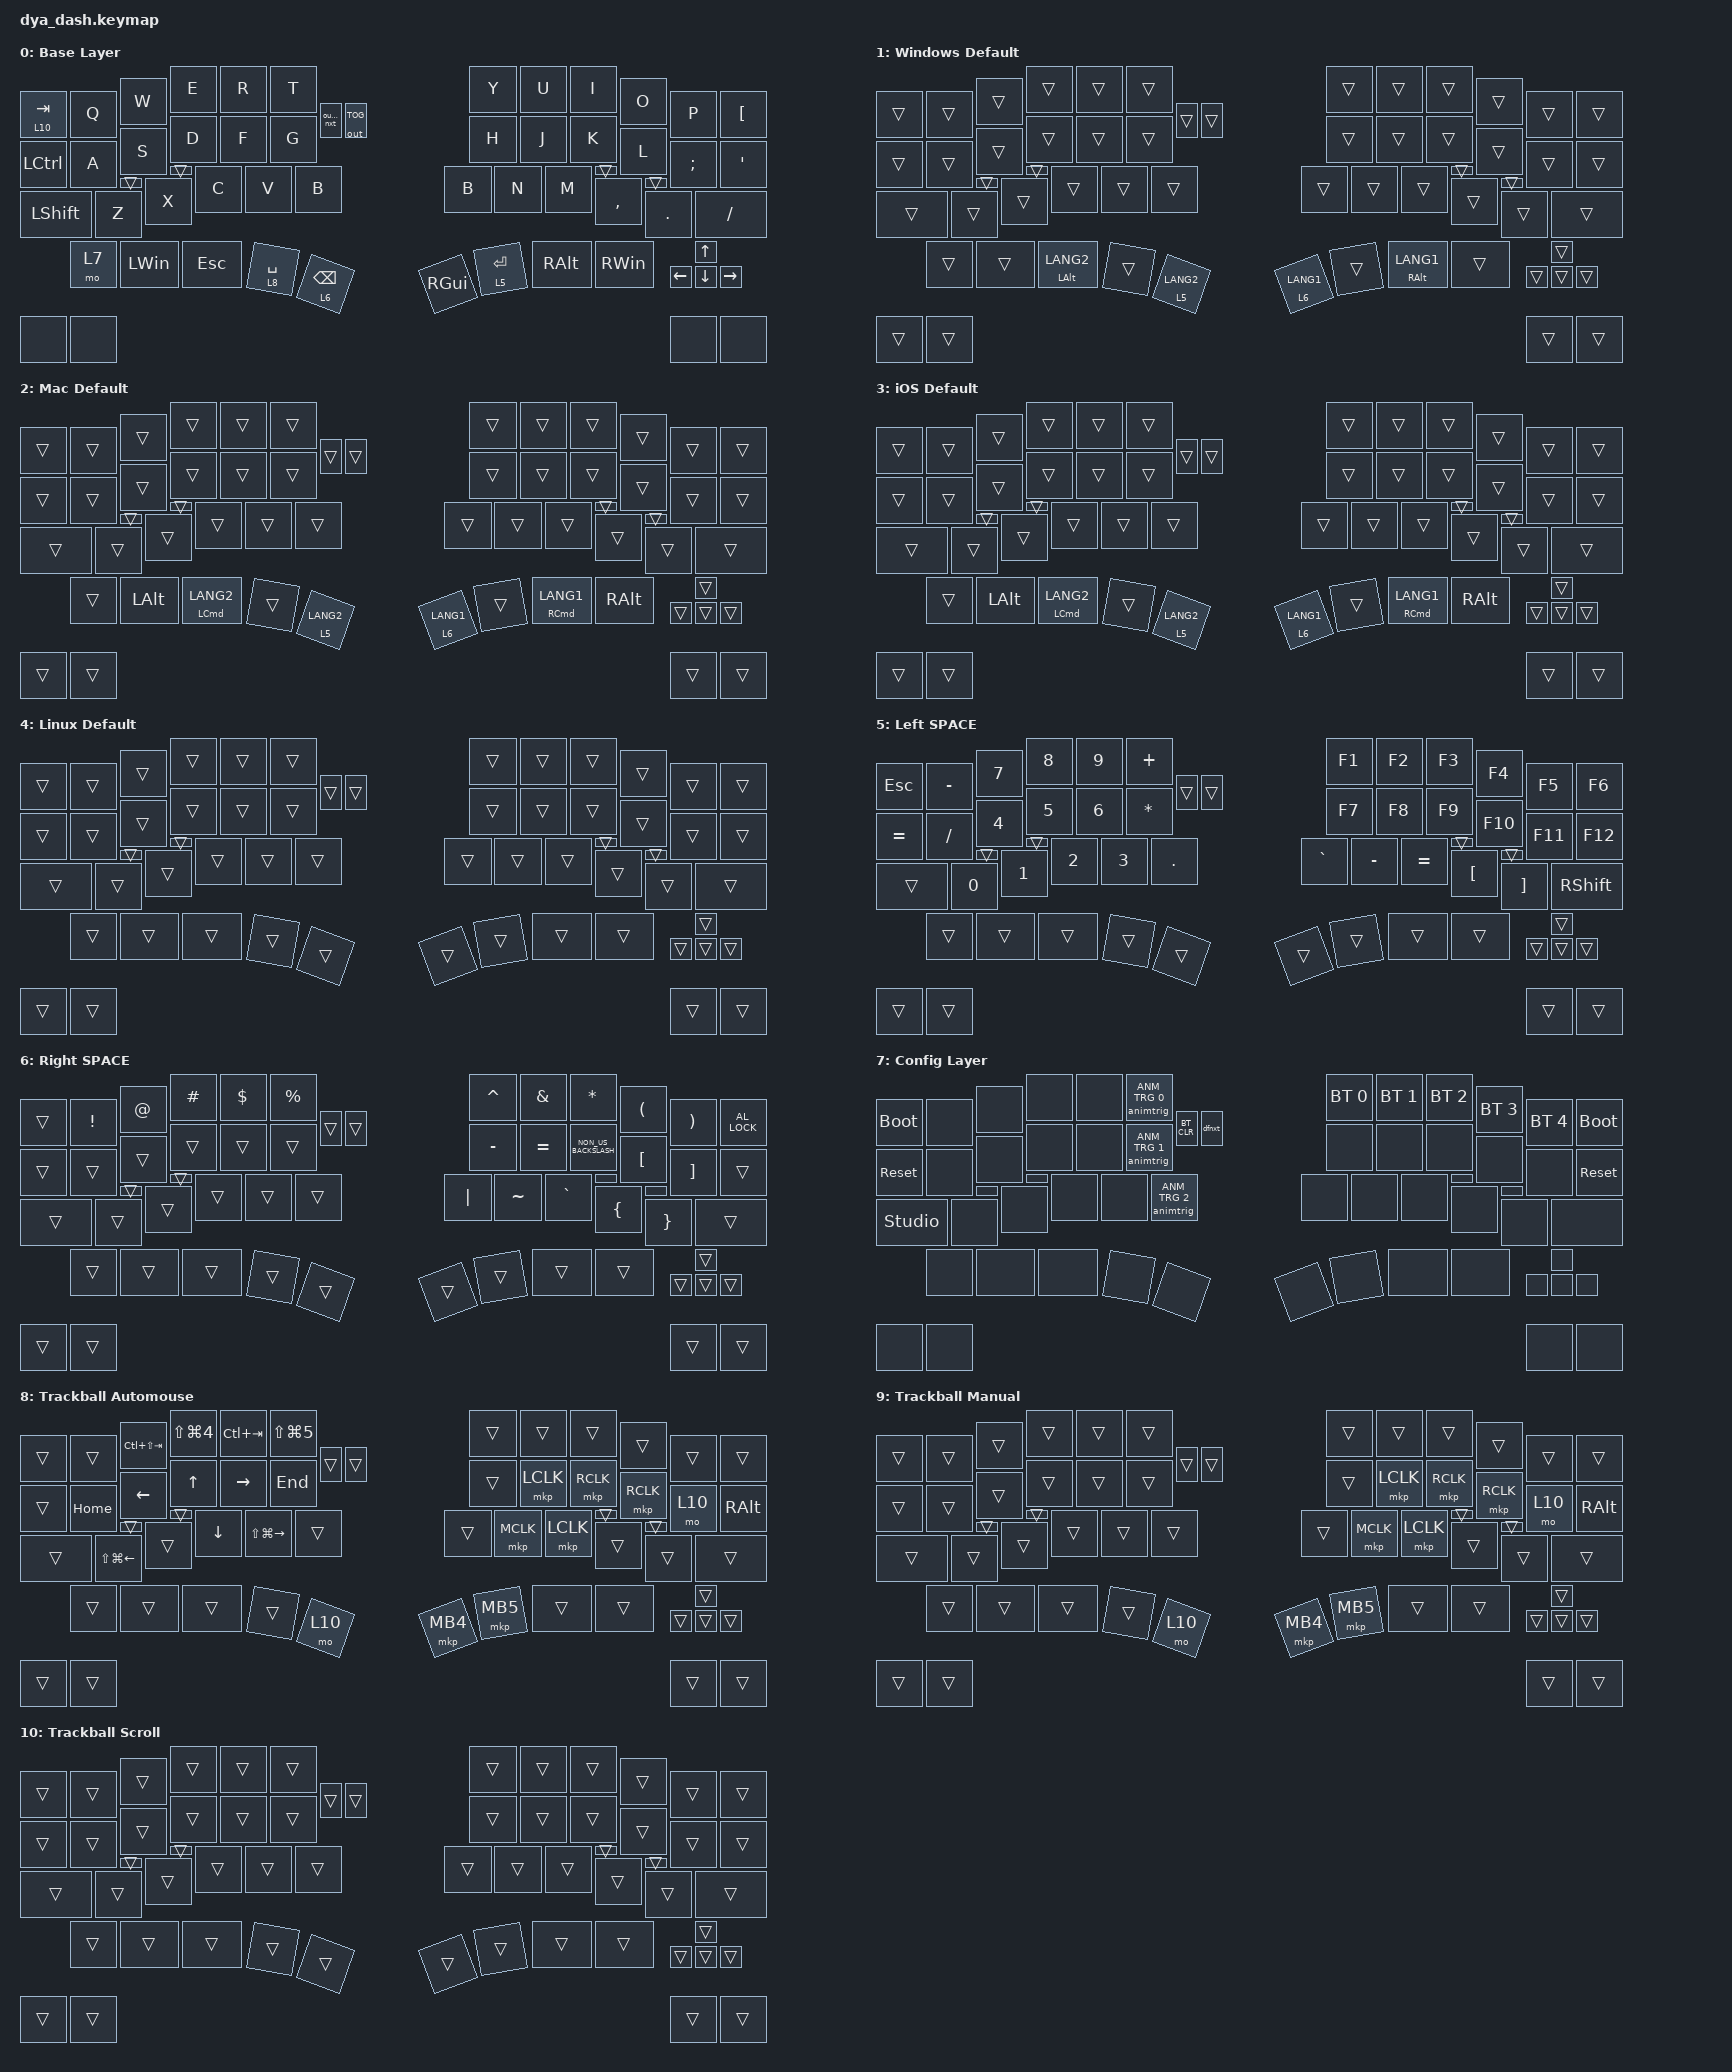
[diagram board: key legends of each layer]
#include <behaviors/mouse_move.dtsi>
#include <behaviors/animation_control.dtsi>
#include <behaviors/animation_trigger.dtsi>
#include <dt-bindings/zmk/mouse.h>
#include <dt-bindings/zmk_driver_animation/animation_control.h>
#include <dt-bindings/zmk_driver_animation/animation_trigger.h>
#include <dt-bindings/zmk_behavior_default_layer/default_layer.h>
#include <behaviors.dtsi>
#include <dt-bindings/zmk/bt.h>
#include <dt-bindings/zmk/keys.h>
#include <dt-bindings/zmk/outputs.h>
#include <dt-bindings/zmk/pointing.h>

// Layer definitions

#define DEFAULT_L 0
#define WINDOWS_L 1
#define MAC_L 2
#define IOS_L 3
#define LINUX_L 4
#define LEFT_L 5
#define RIGHT_L 6
#define CONFIG_L 7
#define TRACKBALL_L 8
#define TRACKBALL_L2 9
#define SCROLL_L 10
#define EXT1_L 11
#define EXT2_L 12
#define EXT3_L 13

&trackball_listener {
    input-processors = <
    // TRACKBALL_L layer is activated when trackball is used.
    // After 500ms of trackball inactivity, the layer is deactivated.
    &zip_temp_layer TRACKBALL_L 500
    // Example: Adjust sensitivity of trackball multiply by 1 and divide by 60.
    // &zip_xy_scaler 1 60
    >;
};

&trackball_scroller {
    layers = <SCROLL_L>;

    // Example: adjust sensitivity of scroll multiply by 1 and divide by 60.
    // input-processors = <&zip_xy_scaler 1 60 &zip_xy_to_scroll_mapper>;
};

&trackball_listener_l { input-processors = <&zip_temp_layer TRACKBALL_L 500>; };

&trackball_scroller_l { layers = <SCROLL_L>; };

&zip_temp_layer { excluded-positions = <19 20 21 22 32 33 41 52 53 54 55 56 57 58 59>; };

&trackball_r { cpi = <600>; };

&trackball_l { cpi = <600>; };

/ {
    behaviors {
        // ctrl+h as backspace

        hbackspace: h_or_ctrl_backspace {
            compatible = "zmk,behavior-mod-morph";
            #binding-cells = <0>;
            bindings = <&kp H>, <&kp BACKSPACE>;

            mods = <(MOD_LCTL)>;
        };

        // ctrl+j as enter

        jenter: j_or_ctrl_enter {
            compatible = "zmk,behavior-mod-morph";
            #binding-cells = <0>;
            bindings = <&kp J>, <&kp ENTER>;

            mods = <(MOD_LCTL)>;
        };
    };

    macros {
        // Disconnect from all once for reliable connection to selected profile.
        // ZMK automatically reconnects to current profile right after disconnection.

        out_bt_nxt: out_bt_nxt {
            compatible = "zmk,behavior-macro";
            #binding-cells = <0>;
            wait-ms = <50>;
            bindings = <&out OUT_BLE &bt BT_NXT &bt BT_DISC 0 &bt BT_DISC 1 &bt BT_DISC 2 &bt BT_DISC 3 &bt BT_DISC 4>;
        };

        // Change default layer for current profile to next layer

        dfnxt: dfnxt {
            compatible = "zmk,behavior-macro";
            #binding-cells = <0>;
            bindings = <&df DF_INC &animtrig ANM_TRG 2>;
        };
    };

    combos {
        compatible = "zmk,combos";

        // Right side's setting button shares input pin with arrow keys.
        // It works as a combo of two arrow keys.

        setting_r1 {
            timeout-ms = <10>;
            key-positions = <47 50>;
            bindings = <&kp C_VOL_DN>;
        };

        setting_r2 {
            timeout-ms = <10>;
            key-positions = <47 49>;
            bindings = <&kp C_VOL_UP>;
        };

        tab {
            bindings = <&kp TAB>;
            key-positions = <14 15>;
        };

        shift_tab {
            bindings = <&kp LS(TAB)>;
            key-positions = <15 16>;
        };
    };

    keymap {
        compatible = "zmk,keymap";

        // template {
        //     bindings = <
        //         &trans      &trans      &trans      &trans      &trans      &trans      /**/ &trans      &trans      &trans      &trans      &trans      &trans
        //         &trans      &trans      &trans      &trans      &trans      &trans      /**/ &trans      &trans      &trans      &trans      &trans      &trans
        //         &trans      &trans      &trans      &trans      &trans      &trans      /**/ &trans      &trans      &trans      &trans      &trans      &trans
        //                     &trans      &trans      &trans      &trans      &trans      /**/ &trans      &trans      &trans      &trans
        //
        //         &trans      &trans                                                      /**/ &trans      &trans      &trans      &trans
        //         &trans      &trans      &trans      &trans                              /**/ &trans      &trans      &trans      &trans
        //     >;
        // };

        default_layer {
            display-name = "Base Layer";

            // --------------------------------------------------------------------------------------------------------------------------------------------------
            // |   TAB   |    Q    |    W    |    E    |    R    |    T       |            |    Y        |    U    |    I     |    O    |    P    |    [    |
            // |   CTRL  |    A    |    S    |    D    |    F    |    G       |            |    H        |    J    |    K     |    L    |    ;    |    '    |
            // |  SHIFT  |    Z    |    X    |    C    |    V    |    B       |            |    B        |    N    |    M     |    ,    |    .    |    /    |
            //           |  CONFIG |   WIN   |   ALT   |  SPACE  | LEFT_LAYER |            | RIGHT_LAYER |  SPACE  |   ALT    |   WIN   |
            // --------------------------------------------------------------------------------------------------------------------------------------------------
            // | BLE     |  USB    |                                                       |  left   | up      | down    | right   |
            // | touch1  | touch2  | touch3  | touch 4 |                                   | touch1  | touch2  | touch3  | touch 4 |

            bindings = <
&lt 10 TAB    &kp Q        &kp W     &kp E    &kp R        &kp T            &kp Y     &kp U        &kp I     &kp O      &kp P     &kp LBKT
&kp LCTRL     &kp A        &kp S     &kp D    &kp F        &kp G            &kp H     &kp J        &kp K     &kp L      &kp SEMI  &kp SQT
&kp LSHIFT    &kp Z        &kp X     &kp C    &kp V        &kp B            &kp B     &kp N        &kp M     &kp COMMA  &kp DOT   &kp FSLH
              &mo 7        &kp LWIN  &kp ESC  &lt 8 SPACE  &lt 6 BACKSPACE  &kp RGUI  &lt 5 ENTER  &kp RALT  &kp RWIN
&out OUT_TOG  &out_bt_nxt                                                   &kp UP    &kp LEFT     &kp DOWN  &kp RIGHT
&trans        &trans       &none     &none                                  &trans    &trans       &none     &none
            >;
        };

        windows_default_layer {
            display-name = "Windows Default";
            bindings = <
&trans  &trans  &trans  &trans          &trans  &trans       &trans       &trans  &trans          &trans  &trans  &trans
&trans  &trans  &trans  &trans          &trans  &trans       &trans       &trans  &trans          &trans  &trans  &trans
&trans  &trans  &trans  &trans          &trans  &trans       &trans       &trans  &trans          &trans  &trans  &trans
        &trans  &trans  &mt LALT LANG2  &trans  &lt 5 LANG2  &lt 6 LANG1  &trans  &mt RALT LANG1  &trans
&trans  &trans                                               &trans       &trans  &trans          &trans
&trans  &trans  &trans  &trans                               &trans       &trans  &trans          &trans
            >;
        };

        mac_default_layer {
            display-name = "Mac Default";
            bindings = <
&trans  &trans  &trans    &trans          &trans  &trans       &trans       &trans  &trans          &trans    &trans  &trans
&trans  &trans  &trans    &trans          &trans  &trans       &trans       &trans  &trans          &trans    &trans  &trans
&trans  &trans  &trans    &trans          &trans  &trans       &trans       &trans  &trans          &trans    &trans  &trans
        &trans  &kp LALT  &mt LCMD LANG2  &trans  &lt 5 LANG2  &lt 6 LANG1  &trans  &mt RCMD LANG1  &kp RALT
&trans  &trans                                                 &trans       &trans  &trans          &trans
&trans  &trans  &trans    &trans                               &trans       &trans  &trans          &trans
            >;
        };

        ios_default_layer {
            display-name = "iOS Default";
            bindings = <
&trans  &trans  &trans    &trans          &trans  &trans       &trans       &trans  &trans          &trans    &trans  &trans
&trans  &trans  &trans    &trans          &trans  &trans       &trans       &trans  &trans          &trans    &trans  &trans
&trans  &trans  &trans    &trans          &trans  &trans       &trans       &trans  &trans          &trans    &trans  &trans
        &trans  &kp LALT  &mt LCMD LANG2  &trans  &lt 5 LANG2  &lt 6 LANG1  &trans  &mt RCMD LANG1  &kp RALT
&trans  &trans                                                 &trans       &trans  &trans          &trans
&trans  &trans  &trans    &trans                               &trans       &trans  &trans          &trans
            >;
        };

        linux_default_layer {
            display-name = "Linux Default";
            bindings = <
&trans  &trans  &trans  &trans  &trans  &trans  &trans  &trans  &trans  &trans  &trans  &trans
&trans  &trans  &trans  &trans  &trans  &trans  &trans  &trans  &trans  &trans  &trans  &trans
&trans  &trans  &trans  &trans  &trans  &trans  &trans  &trans  &trans  &trans  &trans  &trans
        &trans  &trans  &trans  &trans  &trans  &trans  &trans  &trans  &trans
&trans  &trans                                  &trans  &trans  &trans  &trans
&trans  &trans  &trans  &trans                  &trans  &trans  &trans  &trans
            >;
        };

        left_layer {
            display-name = "Left SPACE";

            // --------------------------------------------------------------------------------------------------------------------------------------------------------------------
            // |  ESC    |  !  |  @  |  #       |  $  |  %       |                           |  ^  |  &      |  *      |  (  |  )  |  ]  |
            // |         |  1  |  2  |  3       |  4  |  5       |                           |  6  |  7      |  8      |  9  |  0  |  \  |
            // |         |     |     |          |     |          |                           |  `  |  -      |  =      |  [  |  ]  |SHIFT|
            //           |     |     |          |     |          |                           |     |         |         |     |

            bindings = <
&kp ESC    &kp MINUS     &kp NUMBER_7  &kp NUMBER_8  &kp NUMBER_9  &kp PLUS   &kp F1     &kp F2     &kp F3     &kp F4    &kp F5    &kp F6
&kp EQUAL  &kp SLASH     &kp NUMBER_4  &kp NUMBER_5  &kp NUMBER_6  &kp ASTRK  &kp F7     &kp F8     &kp F9     &kp F10   &kp F11   &kp F12
&trans     &kp NUMBER_0  &kp NUMBER_1  &kp NUMBER_2  &kp NUMBER_3  &kp DOT    &kp GRAVE  &kp MINUS  &kp EQUAL  &kp LBKT  &kp RBKT  &kp RSHIFT
           &trans        &trans        &trans        &trans        &trans     &trans     &trans     &trans     &trans
&trans     &trans                                                             &trans     &trans     &trans     &trans
&trans     &trans        &trans        &trans                                 &trans     &trans     &trans     &trans
            >;
        };

        right_layer {
            display-name = "Right SPACE";
            bindings = <
&trans  &kp EXCLAMATION  &kp AT_SIGN  &kp HASH  &kp DOLLAR  &kp PERCENT  &kp CARET  &kp AMPERSAND  &kp ASTERISK          &kp LEFT_PARENTHESIS  &kp RIGHT_PARENTHESIS  &kp C_AL_LOCK
&trans  &trans           &trans       &trans    &trans      &trans       &kp MINUS  &kp EQUAL      &kp NON_US_BACKSLASH  &kp LEFT_BRACKET      &kp RIGHT_BRACKET      &trans
&trans  &trans           &trans       &trans    &trans      &trans       &kp PIPE   &kp TILDE      &kp GRAVE             &kp LEFT_BRACE        &kp RIGHT_BRACE        &trans
        &trans           &trans       &trans    &trans      &trans       &trans     &trans         &trans                &trans
&trans  &trans                                                           &trans     &trans         &trans                &trans
&trans  &trans           &trans       &trans                             &none      &none          &trans                &trans
            >;
        };

        config_layer {
            display-name = "Config Layer";
            bindings = <
&bootloader     &none       &none  &none  &none  &animtrig ANM_TRG 0  &bt BT_SEL 0  &bt BT_SEL 1  &bt BT_SEL 2  &bt BT_SEL 3  &bt BT_SEL 4  &bootloader
&sys_reset      &none       &none  &none  &none  &animtrig ANM_TRG 1  &none         &none         &none         &none         &none         &sys_reset
&studio_unlock  &none       &none  &none  &none  &animtrig ANM_TRG 2  &none         &none         &none         &none         &none         &none
                &none       &none  &none  &none  &none                &none         &none         &none         &none
&dfnxt          &bt BT_CLR                                            &none         &none         &none         &none
&none           &none       &none  &none                              &none         &none         &none         &none
            >;
        };

        trackball_layer {
            display-name = "Trackball Automouse";
            bindings = <
&trans  &trans                  &kp LC(LS(TAB))  &kp LS(LG(NUMBER_4))  &kp LC(TAB)              &kp LS(LG(NUMBER_5))  &trans    &trans     &trans     &trans     &trans  &trans
&trans  &kp HOME                &kp LEFT_ARROW   &kp UP_ARROW          &kp RIGHT_ARROW          &kp END               &trans    &mkp LCLK  &mkp RCLK  &mkp RCLK  &mo 10  &kp RALT
&trans  &kp LS(LG(LEFT_ARROW))  &trans           &kp DOWN_ARROW        &kp LS(LG(RIGHT_ARROW))  &trans                &trans    &mkp MCLK  &mkp LCLK  &trans     &trans  &trans
        &trans                  &trans           &trans                &trans                   &mo 10                &mkp MB4  &mkp MB5   &trans     &trans
&trans  &trans                                                                                                        &trans    &trans     &trans     &trans
&trans  &trans                  &trans           &trans                                                               &trans    &trans     &trans     &trans
            >;
        };

        trackball_layer2 {
            display-name = "Trackball Manual";
            bindings = <
&trans  &trans  &trans  &trans  &trans  &trans  &trans    &trans     &trans     &trans     &trans  &trans
&trans  &trans  &trans  &trans  &trans  &trans  &trans    &mkp LCLK  &mkp RCLK  &mkp RCLK  &mo 10  &kp RALT
&trans  &trans  &trans  &trans  &trans  &trans  &trans    &mkp MCLK  &mkp LCLK  &trans     &trans  &trans
        &trans  &trans  &trans  &trans  &mo 10  &mkp MB4  &mkp MB5   &trans     &trans
&trans  &trans                                  &trans    &trans     &trans     &trans
&trans  &trans  &trans  &trans                  &trans    &trans     &trans     &trans
            >;
        };

        scroll_layer {
            display-name = "Trackball Scroll";
            bindings = <
&trans  &trans  &trans  &trans  &trans  &trans  &trans  &trans  &trans  &trans  &trans  &trans
&trans  &trans  &trans  &trans  &trans  &trans  &trans  &trans  &trans  &trans  &trans  &trans
&trans  &trans  &trans  &trans  &trans  &trans  &trans  &trans  &trans  &trans  &trans  &trans
        &trans  &trans  &trans  &trans  &trans  &trans  &trans  &trans  &trans
&trans  &trans                                  &trans  &trans  &trans  &trans
&trans  &trans  &trans  &trans                  &trans  &trans  &trans  &trans
            >;
        };

        extra1 { status = "reserved"; };

        extra2 { status = "reserved"; };

        extra3 { status = "reserved"; };
    };
};
